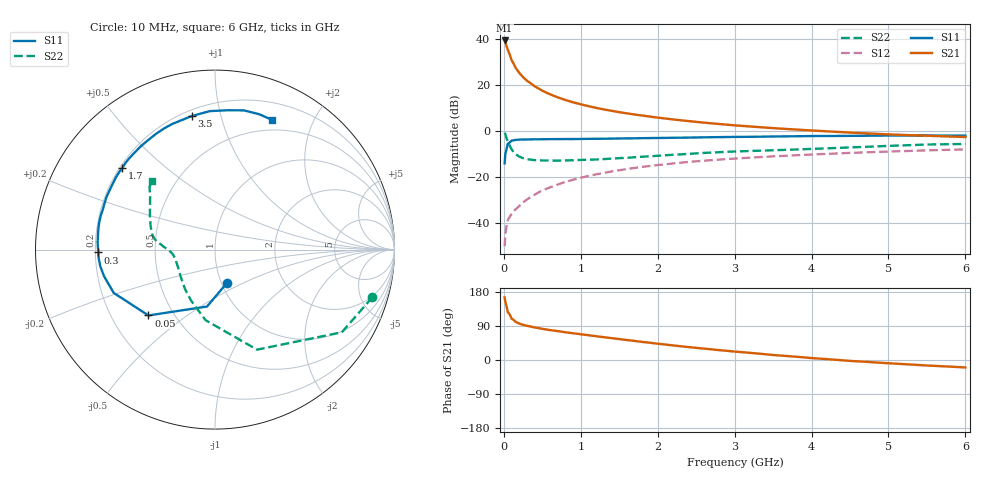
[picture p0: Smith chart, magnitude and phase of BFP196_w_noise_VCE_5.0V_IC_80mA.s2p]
! Infineon Technologies  Discrete & RF Semiconductors
! BFP196
! VCE =  5.0 V,  IC =  80 mA
! Common Emitter S-Parameters:  Jan 2017
# GHz  S  MA  R  50
!  f  S11  S21  S12  S22
! GHz  MAG  ANG  MAG  ANG  MAG  ANG  MAG  ANG
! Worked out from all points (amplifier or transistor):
!   77 points, 10 MHz to 6 GHz, reference 50 ohm
!   highest |S21| = 39.4 dB at 10 MHz (marker M1)
!   |S21| within 3 dB of that: start of sweep to 40.82 MHz
!   unconditionally stable (mu >= 1): 461 MHz to 2.431 GHz
!   at 130 MHz: K = 0.72, MSG = 32.0 dB, |S12| = -34.9 dB
!   at 2.2 GHz: K = 1.01, MAG = 9.0 dB, |S12| = -14.2 dB
!   at 6 GHz: K = 0.96, MSG = 2.7 dB, |S12| = -8.0 dB
!   lowest NFmin = 1.78 dB at 450 MHz
!   S11 on the Smith chart (normalised r, x): 10 MHz: 1.06, -0.41; 50 MHz: 0.36, -0.36; 300 MHz: 0.21, -0.01; 1.7 GHz: 0.21, +0.36; 3.5 GHz: 0.23, +0.81; 6 GHz: 0.38, +1.47
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0.01  0.1967 -69.9  92.8 165.3  0.0031 82.3  0.9156 -16.9
0.02  0.3204 -98.0  85.96 152.5  0.0058 78.4  0.8437 -33.1
0.05  0.5215 -135.3  58.98 126.9  0.0112 57.2  0.6046 -67.2
0.1  0.6136 -156.8  34.85 109.1  0.0156 55.6  0.3968 -97.6
0.15  0.6358 -166.5  24.12 101.3  0.0195 60.1  0.314 -115.1
0.2  0.6458 -171.7  18.35 96.3  0.023 64.2  0.2764 -127.1
0.25  0.6498 -175.7  14.77 92.7  0.028 64.2  0.255 -135.4
0.3  0.6505 -178.6  12.36 90.2  0.032 67.5  0.2427 -142.2
0.4  0.6552 176.6  9.337 85.8  0.0408 69.2  0.2311 -150.9
0.5  0.6571 172.7  7.476 82.2  0.0506 69.6  0.2269 -157.0
0.6  0.6608 169.2  6.262 79.0  0.059 69.4  0.2266 -161.5
0.7  0.6629 166.4  5.37 76.3  0.0679 69.3  0.2254 -164.9
0.8  0.6641 163.3  4.707 73.2  0.0778 68.6  0.2272 -167.5
1.1  0.6714 154.6  3.447 65.4  0.1048 65.6  0.2362 -173.2
1.3  0.6754 149.1  2.929 60.2  0.1218 63.0  0.2433 -175.9
1.7  0.6885 138.5  2.271 50.3  0.1562 57.7  0.2669 179.5
2.1  0.704 128.2  1.858 40.8  0.1877 52.0  0.2946 175.6
3.1  0.7408 107.2  1.283 20.6  0.2553 38.0  0.3607 165.9
3.5  0.7552 99.9  1.148 13.2  0.279 33.2  0.3789 160.8
4.1  0.7725 90.7  0.999 3.7  0.3109 25.6  0.4108 152.0
5.1  0.7916 77.0  0.827 -9.7  0.3591 13.8  0.4776 139.3
6  0.7898 66.1  0.734 -19.7  0.396 3.9  0.5196 132.8
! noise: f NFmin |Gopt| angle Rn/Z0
0.45  1.78  0.5  -170  0.06
0.9  1.95  0.53  -157  0.1
1.9  2.8  0.7  -130  0.4
2.4  3.2  0.7  -116  0.87
